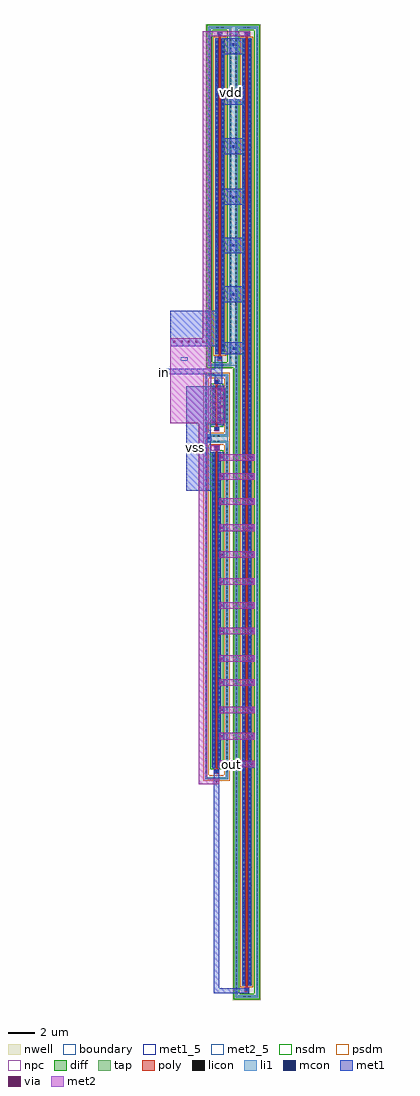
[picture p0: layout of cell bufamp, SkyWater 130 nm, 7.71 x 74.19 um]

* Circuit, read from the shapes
.subckt bufamp in net1 out vdd vss
XM1 out net1 vss vss sky130_fd_pr__nfet_01v8 w=24 l=0.15
XM2 net1 in vss vss sky130_fd_pr__nfet_01v8 w=3 l=0.15
XM3 vdd in net1 vdd sky130_fd_pr__pfet_01v8 w=24 l=0.15
XM4 out net1 vdd vdd sky130_fd_pr__pfet_01v8 w=72 l=0.15
.ends

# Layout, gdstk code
from math import pi, radians
import gdstk
lib = gdstk.Library(unit=1e-6, precision=1e-09)
def R(c, l, rs):  # rectangles x0, y0, x1, y1
    for r in rs: c.add(gdstk.rectangle(r[:2], r[2:], *l))
def A(c, l, x, y, w, h, nx, ny, dx, dy):  # array of equal rectangles
    R(c, l, [(x+i*dx, y+j*dy, x+i*dx+w, y+j*dy+h) for i in range(nx) for j in range(ny)])
nwell = (64, 20)
diff = (65, 20)
tap = (65, 44)
poly = (66, 20)
licon = (66, 44)
li1 = (67, 20)
mcon = (67, 44)
met1_5 = (68, 5)
met1 = (68, 20)
via = (68, 44)
met2_5 = (69, 5)
met2 = (69, 20)
nsdm = (93, 44)
psdm = (94, 20)
npc = (95, 20)
boundary = (235, 4)

sky130_fd_pr__pfet_01v8_ = lib.new_cell('sky130_fd_pr__pfet_01v8_FQ8GLC')
R(sky130_fd_pr__pfet_01v8_, nwell, [(-1.055,-13.095,1.055,13.095)])
R(sky130_fd_pr__pfet_01v8_, diff, [(-0.365,-12,0.365,12)])
R(sky130_fd_pr__pfet_01v8_, tap, [(-0.875,-12.915,0.875,-12.745), (-0.875,-12.745,-0.705,12.745), (0.705,-12.745,0.875,12.745), (-0.875,12.745,0.875,12.915)])
R(sky130_fd_pr__pfet_01v8_, poly, [(-0.165,-12.485,0.165,-12.155), (-0.075,-12.155,0.075,12.155), (-0.165,12.155,0.165,12.485)])
A(sky130_fd_pr__pfet_01v8_, licon, -0.875, -12.325, 0.17, 0.17, 1, 73, 0, 0.34)
A(sky130_fd_pr__pfet_01v8_, licon, 0.705, -12.325, 0.17, 0.17, 1, 73, 0, 0.34)
A(sky130_fd_pr__pfet_01v8_, licon, -0.305, -11.815, 0.17, 0.17, 1, 70, 0, 0.34)
A(sky130_fd_pr__pfet_01v8_, licon, 0.135, -11.815, 0.17, 0.17, 1, 70, 0, 0.34)
R(sky130_fd_pr__pfet_01v8_, licon, [(-0.255,-12.915,-0.085,-12.745), (0.085,-12.915,0.255,-12.745), (-0.085,-12.405,0.085,-12.235), (-0.085,12.235,0.085,12.405), (-0.255,12.745,-0.085,12.915), (0.085,12.745,0.255,12.915)])
R(sky130_fd_pr__pfet_01v8_, li1, [(-0.875,-12.915,0.875,-12.745), (-0.875,-12.745,-0.705,12.745), (0.705,-12.745,0.875,12.745), (-0.165,-12.405,0.165,-12.235), (-0.305,-12.02,-0.135,12.02), (0.135,-12.02,0.305,12.02), (-0.165,12.235,0.165,12.405), (-0.875,12.745,0.875,12.915)])
A(sky130_fd_pr__pfet_01v8_, mcon, -0.305, -11.785, 0.17, 0.17, 1, 66, 0, 0.36)
A(sky130_fd_pr__pfet_01v8_, mcon, 0.135, -11.785, 0.17, 0.17, 1, 66, 0, 0.36)
R(sky130_fd_pr__pfet_01v8_, mcon, [(-0.085,-12.405,0.085,-12.235), (-0.085,12.235,0.085,12.405)])
R(sky130_fd_pr__pfet_01v8_, met1, [(-0.145,-12.435,0.145,-12.205), (-0.335,-12,-0.105,12), (0.105,-12,0.335,12), (-0.145,12.205,0.145,12.435)])
R(sky130_fd_pr__pfet_01v8_, nsdm, [(-1,-13.04,1,-12.62), (-1,-12.62,-0.58,12.62), (0.58,-12.62,1,12.62), (-1,12.62,1,13.04)])
R(sky130_fd_pr__pfet_01v8_, psdm, [(-0.49,-12.125,0.49,12.125)])
R(sky130_fd_pr__pfet_01v8_, npc, [(-0.185,-12.505,0.185,-12.135), (-0.185,12.135,0.185,12.505)])
R(sky130_fd_pr__pfet_01v8_, boundary, [(-0.79,-12.83,0.79,12.83)])
sky130_fd_pr__pfet_01v8_.add(gdstk.Label('G', (0,12.32), layer=67, texttype=5))
sky130_fd_pr__pfet_01v8_.add(gdstk.Label('S', (0.22,0), layer=67, texttype=5))
sky130_fd_pr__pfet_01v8_.add(gdstk.Label('D', (-0.22,0), layer=67, texttype=5))
sky130_fd_pr__pfet_01v8_.add(gdstk.Label('B', (0,-12.83), layer=67, texttype=5))

sky130_fd_pr__nfet_01v8_ = lib.new_cell('sky130_fd_pr__nfet_01v8_ALT2VJ')
R(sky130_fd_pr__nfet_01v8_, diff, [(-0.365,-1.5,0.365,1.5)])
R(sky130_fd_pr__nfet_01v8_, tap, [(-0.875,-2.37,0.875,-2.2), (-0.875,-2.2,-0.705,2.2), (0.705,-2.2,0.875,2.2), (-0.875,2.2,0.875,2.37)])
R(sky130_fd_pr__nfet_01v8_, poly, [(-0.165,-1.94,0.165,-1.61), (-0.075,-1.61,0.075,1.61), (-0.165,1.61,0.165,1.94)])
A(sky130_fd_pr__nfet_01v8_, licon, -0.875, -1.785, 0.17, 0.17, 1, 11, 0, 0.34)
A(sky130_fd_pr__nfet_01v8_, licon, 0.705, -1.785, 0.17, 0.17, 1, 11, 0, 0.34)
A(sky130_fd_pr__nfet_01v8_, licon, -0.305, -1.275, 0.17, 0.17, 1, 8, 0, 0.34)
A(sky130_fd_pr__nfet_01v8_, licon, 0.135, -1.275, 0.17, 0.17, 1, 8, 0, 0.34)
R(sky130_fd_pr__nfet_01v8_, licon, [(-0.255,-2.37,-0.085,-2.2), (0.085,-2.37,0.255,-2.2), (-0.085,-1.86,0.085,-1.69), (-0.085,1.69,0.085,1.86), (-0.255,2.2,-0.085,2.37), (0.085,2.2,0.255,2.37)])
R(sky130_fd_pr__nfet_01v8_, li1, [(-0.875,-2.37,0.875,-2.2), (-0.875,-2.2,-0.705,2.2), (0.705,-2.2,0.875,2.2), (-0.165,-1.86,0.165,-1.69), (-0.305,-1.52,-0.135,1.52), (0.135,-1.52,0.305,1.52), (-0.165,1.69,0.165,1.86), (-0.875,2.2,0.875,2.37)])
A(sky130_fd_pr__nfet_01v8_, mcon, -0.305, -1.345, 0.17, 0.17, 1, 8, 0, 0.36)
A(sky130_fd_pr__nfet_01v8_, mcon, 0.135, -1.345, 0.17, 0.17, 1, 8, 0, 0.36)
R(sky130_fd_pr__nfet_01v8_, mcon, [(-0.085,-1.86,0.085,-1.69), (-0.085,1.69,0.085,1.86)])
R(sky130_fd_pr__nfet_01v8_, met1, [(-0.145,-1.89,0.145,-1.66), (-0.335,-1.5,-0.105,1.5), (0.105,-1.5,0.335,1.5), (-0.145,1.66,0.145,1.89)])
R(sky130_fd_pr__nfet_01v8_, nsdm, [(-0.49,-1.625,0.49,1.625)])
R(sky130_fd_pr__nfet_01v8_, psdm, [(-1,-2.495,1,-2.075), (-1,-2.075,-0.58,2.075), (0.58,-2.075,1,2.075), (-1,2.075,1,2.495)])
R(sky130_fd_pr__nfet_01v8_, npc, [(-0.185,-1.96,0.185,-1.59), (-0.185,1.59,0.185,1.96)])
R(sky130_fd_pr__nfet_01v8_, boundary, [(-0.79,-2.285,0.79,2.285)])
sky130_fd_pr__nfet_01v8_.add(gdstk.Label('G', (0,1.775), layer=67, texttype=5))
sky130_fd_pr__nfet_01v8_.add(gdstk.Label('S', (0.22,0), layer=67, texttype=5))
sky130_fd_pr__nfet_01v8_.add(gdstk.Label('D', (-0.22,0), layer=67, texttype=5))
sky130_fd_pr__nfet_01v8_.add(gdstk.Label('B', (0,-2.285), layer=67, texttype=5))

c_sky130_fd_pr__nfet_01v8_ = lib.new_cell('sky130_fd_pr__nfet_01v8_R2YDDZ')
R(c_sky130_fd_pr__nfet_01v8_, diff, [(-0.365,-12,0.365,12)])
R(c_sky130_fd_pr__nfet_01v8_, tap, [(-0.875,-12.87,0.875,-12.7), (-0.875,-12.7,-0.705,12.7), (0.705,-12.7,0.875,12.7), (-0.875,12.7,0.875,12.87)])
R(c_sky130_fd_pr__nfet_01v8_, poly, [(-0.165,-12.44,0.165,-12.11), (-0.075,-12.11,0.075,12.11), (-0.165,12.11,0.165,12.44)])
A(c_sky130_fd_pr__nfet_01v8_, licon, -0.875, -12.325, 0.17, 0.17, 1, 73, 0, 0.34)
A(c_sky130_fd_pr__nfet_01v8_, licon, 0.705, -12.325, 0.17, 0.17, 1, 73, 0, 0.34)
A(c_sky130_fd_pr__nfet_01v8_, licon, -0.305, -11.815, 0.17, 0.17, 1, 70, 0, 0.34)
A(c_sky130_fd_pr__nfet_01v8_, licon, 0.135, -11.815, 0.17, 0.17, 1, 70, 0, 0.34)
R(c_sky130_fd_pr__nfet_01v8_, licon, [(-0.255,-12.87,-0.085,-12.7), (0.085,-12.87,0.255,-12.7), (-0.085,-12.36,0.085,-12.19), (-0.085,12.19,0.085,12.36), (-0.255,12.7,-0.085,12.87), (0.085,12.7,0.255,12.87)])
R(c_sky130_fd_pr__nfet_01v8_, li1, [(-0.875,-12.87,0.875,-12.7), (-0.875,-12.7,-0.705,12.7), (0.705,-12.7,0.875,12.7), (-0.165,-12.36,0.165,-12.19), (-0.305,-12.02,-0.135,12.02), (0.135,-12.02,0.305,12.02), (-0.165,12.19,0.165,12.36), (-0.875,12.7,0.875,12.87)])
A(c_sky130_fd_pr__nfet_01v8_, mcon, -0.305, -11.785, 0.17, 0.17, 1, 66, 0, 0.36)
A(c_sky130_fd_pr__nfet_01v8_, mcon, 0.135, -11.785, 0.17, 0.17, 1, 66, 0, 0.36)
R(c_sky130_fd_pr__nfet_01v8_, mcon, [(-0.085,-12.36,0.085,-12.19), (-0.085,12.19,0.085,12.36)])
R(c_sky130_fd_pr__nfet_01v8_, met1, [(-0.145,-12.39,0.145,-12.16), (-0.335,-12,-0.105,12), (0.105,-12,0.335,12), (-0.145,12.16,0.145,12.39)])
R(c_sky130_fd_pr__nfet_01v8_, nsdm, [(-0.49,-12.125,0.49,12.125)])
R(c_sky130_fd_pr__nfet_01v8_, psdm, [(-1,-12.995,1,-12.575), (-1,-12.575,-0.58,12.575), (0.58,-12.575,1,12.575), (-1,12.575,1,12.995)])
R(c_sky130_fd_pr__nfet_01v8_, npc, [(-0.185,-12.46,0.185,-12.09), (-0.185,12.09,0.185,12.46)])
R(c_sky130_fd_pr__nfet_01v8_, boundary, [(-0.79,-12.785,0.79,12.785)])
c_sky130_fd_pr__nfet_01v8_.add(gdstk.Label('G', (0,12.275), layer=67, texttype=5))
c_sky130_fd_pr__nfet_01v8_.add(gdstk.Label('S', (0.22,0), layer=67, texttype=5))
c_sky130_fd_pr__nfet_01v8_.add(gdstk.Label('D', (-0.22,0), layer=67, texttype=5))
c_sky130_fd_pr__nfet_01v8_.add(gdstk.Label('B', (0,-12.785), layer=67, texttype=5))

c_sky130_fd_pr__pfet_01v8_ = lib.new_cell('sky130_fd_pr__pfet_01v8_7C8VN2')
R(c_sky130_fd_pr__pfet_01v8_, nwell, [(-1.055,-37.095,1.055,37.095)])
R(c_sky130_fd_pr__pfet_01v8_, diff, [(-0.365,-36,0.365,36)])
R(c_sky130_fd_pr__pfet_01v8_, tap, [(-0.875,-36.915,0.875,-36.745), (-0.875,-36.745,-0.705,36.745), (0.705,-36.745,0.875,36.745), (-0.875,36.745,0.875,36.915)])
R(c_sky130_fd_pr__pfet_01v8_, poly, [(-0.165,-36.485,0.165,-36.155), (-0.075,-36.155,0.075,36.155), (-0.165,36.155,0.165,36.485)])
A(c_sky130_fd_pr__pfet_01v8_, licon, -0.875, -36.295, 0.17, 0.17, 1, 214, 0, 0.34)
A(c_sky130_fd_pr__pfet_01v8_, licon, 0.705, -36.295, 0.17, 0.17, 1, 214, 0, 0.34)
A(c_sky130_fd_pr__pfet_01v8_, licon, -0.305, -35.785, 0.17, 0.17, 1, 211, 0, 0.34)
A(c_sky130_fd_pr__pfet_01v8_, licon, 0.135, -35.785, 0.17, 0.17, 1, 211, 0, 0.34)
R(c_sky130_fd_pr__pfet_01v8_, licon, [(-0.255,-36.915,-0.085,-36.745), (0.085,-36.915,0.255,-36.745), (-0.085,-36.405,0.085,-36.235), (-0.085,36.235,0.085,36.405), (-0.255,36.745,-0.085,36.915), (0.085,36.745,0.255,36.915)])
R(c_sky130_fd_pr__pfet_01v8_, li1, [(-0.875,-36.915,0.875,-36.745), (-0.875,-36.745,-0.705,36.745), (0.705,-36.745,0.875,36.745), (-0.165,-36.405,0.165,-36.235), (-0.305,-36.02,-0.135,36.02), (0.135,-36.02,0.305,36.02), (-0.165,36.235,0.165,36.405), (-0.875,36.745,0.875,36.915)])
A(c_sky130_fd_pr__pfet_01v8_, mcon, -0.305, -35.905, 0.17, 0.17, 1, 200, 0, 0.36)
A(c_sky130_fd_pr__pfet_01v8_, mcon, 0.135, -35.905, 0.17, 0.17, 1, 200, 0, 0.36)
R(c_sky130_fd_pr__pfet_01v8_, mcon, [(-0.085,-36.405,0.085,-36.235), (-0.085,36.235,0.085,36.405)])
R(c_sky130_fd_pr__pfet_01v8_, met1, [(-0.145,-36.435,0.145,-36.205), (-0.335,-36,-0.105,36), (0.105,-36,0.335,36), (-0.145,36.205,0.145,36.435)])
R(c_sky130_fd_pr__pfet_01v8_, nsdm, [(-1,-37.04,1,-36.62), (-1,-36.62,-0.58,36.62), (0.58,-36.62,1,36.62), (-1,36.62,1,37.04)])
R(c_sky130_fd_pr__pfet_01v8_, psdm, [(-0.49,-36.125,0.49,36.125)])
R(c_sky130_fd_pr__pfet_01v8_, npc, [(-0.185,-36.505,0.185,-36.135), (-0.185,36.135,0.185,36.505)])
R(c_sky130_fd_pr__pfet_01v8_, boundary, [(-0.79,-36.83,0.79,36.83)])
c_sky130_fd_pr__pfet_01v8_.add(gdstk.Label('G', (0,36.32), layer=67, texttype=5))
c_sky130_fd_pr__pfet_01v8_.add(gdstk.Label('S', (0.22,0), layer=67, texttype=5))
c_sky130_fd_pr__pfet_01v8_.add(gdstk.Label('D', (-0.22,0), layer=67, texttype=5))
c_sky130_fd_pr__pfet_01v8_.add(gdstk.Label('B', (0,-36.83), layer=67, texttype=5))

bufamp = lib.new_cell('bufamp')
R(bufamp, li1, [(-5.1,41.45,-3.4,41.9), (-3.2,47.2,-2.75,73)])
R(bufamp, mcon, [(-4.935,41.615,-4.765,41.785), (-3.01,48.44,-2.84,48.61), (-3.06,52.54,-2.89,52.71), (-3.06,56.29,-2.89,56.46), (-3.06,59.94,-2.89,60.11), (-3.06,63.79,-2.89,63.96), (-3.06,67.59,-2.89,67.76), (-3.06,71.54,-2.89,71.71)])
R(bufamp, met1_5, [(-6.15,40.75,-5.5,41.2), (-8.45,46.6,-7.95,46.85), (-3.4,67.85,-2.85,68.1)])
A(bufamp, met1, -4, 30.55, 0.35, 0.5, 1, 3, 0, 2.05)
A(bufamp, met1, -1.7, 30.55, 0.35, 0.5, 1, 3, 0, 2.05)
A(bufamp, met1, -3.75, 52.05, 1.55, 1.2, 1, 3, 0, 3.7)
R(bufamp, met1, [(-4.45,-0.5,-1.75,-0.1), (-4.45,-0.1,-4.05,16.5), (-4,16.65,-3.65,17.2), (-1.7,16.65,-1.35,17.2), (-4,18.8,-3.65,19.3), (-1.7,18.8,-1.35,19.3), (-4,20.8,-3.65,21.3), (-1.7,20.8,-1.35,21.3), (-4,22.9,-3.65,23.4), (-1.7,22.9,-1.35,23.4), (-4,24.7,-3.65,25.2), (-1.7,24.7,-1.35,25.2), (-4,26.8,-3.65,27.3), (-1.7,26.8,-1.35,27.3), (-4,28.75,-3.65,29.25), (-1.7,28.75,-1.35,29.25), (-4,36.65,-3.65,37.15), (-1.7,36.65,-1.35,37.15), (-6.55,37.7,-4.5,40.65), (-4,38.55,-3.65,39.05), (-1.7,38.55,-1.35,39.05), (-4.05,40,-3.65,40.65), (-1.7,40,-1.35,40.5), (-6.55,40.65,-4.7,41.5), (-4.4,40.8,-4,41.1), (-6.55,41.5,-4.65,41.9), (-6.55,41.9,-4.7,42.7), (-4.4,42.3,-4.05,42.55), (-6.55,42.7,-4.5,45.65), (-4,42.7,-3.65,45.7), (-4.4,45.85,-3.8,46.55), (-8.6,46.55,-3.8,47), (-4.4,47,-3.8,47.9), (-3.75,48.1,-2.2,49), (-7.75,48.7,-4.25,51.4), (-3.75,63.3,-2.2,64.5), (-3.75,67.05,-2.2,68.25), (-3.75,70.9,-2.2,72.1), (-4.15,72.3,-3.8,72.55), (-2.1,72.3,-1.7,72.6)])
A(bufamp, via, -3.925, 30.725, 0.15, 0.15, 1, 3, 0, 2.05)
A(bufamp, via, -1.625, 30.725, 0.15, 0.15, 1, 3, 0, 2.05)
A(bufamp, via, -3.925, 44.075, 0.15, 0.15, 1, 3, 0, 0.6)
A(bufamp, via, -7.525, 48.975, 0.15, 0.15, 5, 1, 0.55, 0)
R(bufamp, via, [(-4.325,15.525,-4.175,15.675), (-3.925,16.875,-3.775,17.025), (-1.625,16.875,-1.475,17.025), (-3.925,18.975,-3.775,19.125), (-1.625,18.975,-1.475,19.125), (-3.925,20.975,-3.775,21.125), (-1.625,20.975,-1.475,21.125), (-3.925,23.075,-3.775,23.225), (-1.625,23.075,-1.475,23.225), (-3.925,24.875,-3.775,25.025), (-1.625,24.875,-1.475,25.025), (-3.925,26.975,-3.775,27.125), (-1.625,26.975,-1.475,27.125), (-3.925,28.925,-3.775,29.075), (-1.625,28.925,-1.475,29.075), (-3.925,36.825,-3.775,36.975), (-1.625,36.825,-1.475,36.975), (-3.925,38.725,-3.775,38.875), (-1.625,38.725,-1.475,38.875), (-3.925,40.175,-3.775,40.325), (-1.625,40.175,-1.475,40.325), (-4.275,40.875,-4.125,41.025), (-3.925,42.975,-3.775,43.125), (-1.975,72.375,-1.825,72.525)])
R(bufamp, met2_5, [(-3.3,16.8,-2.9,17.05), (-6.95,47.6,-6.45,47.85)])
A(bufamp, met2, -4.05, 30.55, 2.7, 0.5, 1, 3, 0, 2.05)
R(bufamp, met2, [(-5.6,15.4,-4.05,15.8), (-5.6,15.8,-4.95,42.85), (-4.05,16.7,-1.35,17.2), (-4.05,18.8,-1.35,19.3), (-4.05,20.8,-1.35,21.3), (-4.05,22.9,-1.35,23.4), (-4.05,24.7,-1.35,25.2), (-4.05,26.8,-1.35,27.3), (-4.05,28.75,-1.35,29.25), (-4.05,36.65,-1.35,37.15), (-4.05,38.55,-1.35,39.05), (-4.05,40,-1.35,40.5), (-4.7,40.75,-4,41.15), (-7.75,42.85,-3.6,45.55), (-7.75,45.55,-4.65,49.3), (-5.3,49.3,-4.65,72.25), (-5.3,72.25,-1.7,72.65)])
R(bufamp, nsdm, [(-2.995,47.055,-2.945,73.135)])
R(bufamp, psdm, [(-5.245,41.645,-3.245,41.705)])
bufamp.add(gdstk.Reference(sky130_fd_pr__pfet_01v8_, (-3.995,60.095)))
bufamp.add(gdstk.Reference(sky130_fd_pr__nfet_01v8_, (-4.245,44.2), rotation=pi))
bufamp.add(gdstk.Reference(c_sky130_fd_pr__nfet_01v8_, (-4.245,28.65), rotation=pi))
bufamp.add(gdstk.Reference(c_sky130_fd_pr__pfet_01v8_, (-1.945,36.095), rotation=pi))
bufamp.add(gdstk.Label('in', (-8.2,46.725), layer=68, texttype=5))
bufamp.add(gdstk.Label('vdd', (-3.125,67.975), layer=68, texttype=5))
bufamp.add(gdstk.Label('vss', (-5.825,40.975), layer=68, texttype=5))
bufamp.add(gdstk.Label('out', (-3.1,16.925), layer=69, texttype=5))
bufamp.add(gdstk.Label('net1', (-6.7,47.725), layer=69, texttype=5))

lib.write_gds('bufamp.gds')
